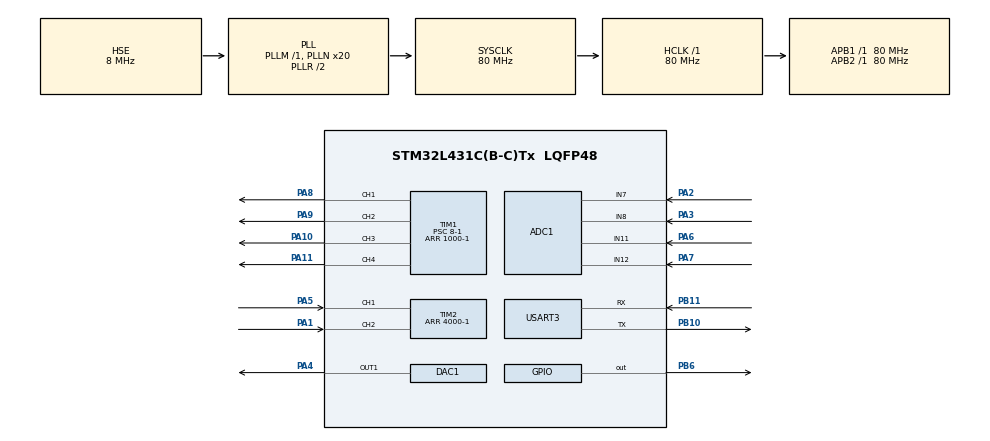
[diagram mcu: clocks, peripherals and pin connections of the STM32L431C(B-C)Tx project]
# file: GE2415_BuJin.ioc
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ADC1.Channel-6\#ChannelRegularConversion=ADC_CHANNEL_7
ADC1.Channel-7\#ChannelRegularConversion=ADC_CHANNEL_11
ADC1.Channel-8\#ChannelRegularConversion=ADC_CHANNEL_12
ADC1.Channel-9\#ChannelRegularConversion=ADC_CHANNEL_8
ADC1.ContinuousConvMode=ENABLE
ADC1.DMAContinuousRequests=ENABLE
ADC1.NbrOfConversion=4
ADC1.NbrOfConversionFlag=1
ADC1.OffsetNumber-6\#ChannelRegularConversion=ADC_OFFSET_NONE
ADC1.OffsetNumber-7\#ChannelRegularConversion=ADC_OFFSET_NONE
ADC1.OffsetNumber-8\#ChannelRegularConversion=ADC_OFFSET_NONE
ADC1.OffsetNumber-9\#ChannelRegularConversion=ADC_OFFSET_NONE
ADC1.Rank-6\#ChannelRegularConversion=1
ADC1.Rank-7\#ChannelRegularConversion=2
ADC1.Rank-8\#ChannelRegularConversion=3
ADC1.Rank-9\#ChannelRegularConversion=4
ADC1.SamplingTime-6\#ChannelRegularConversion=ADC_SAMPLETIME_6CYCLES_5
ADC1.SamplingTime-7\#ChannelRegularConversion=ADC_SAMPLETIME_6CYCLES_5
ADC1.SamplingTime-8\#ChannelRegularConversion=ADC_SAMPLETIME_6CYCLES_5
ADC1.SamplingTime-9\#ChannelRegularConversion=ADC_SAMPLETIME_6CYCLES_5
ADC1.master=1
Dma.ADC1.2.Direction=DMA_PERIPH_TO_MEMORY
Dma.ADC1.2.Instance=DMA1_Channel1
Dma.ADC1.2.MemDataAlignment=DMA_MDATAALIGN_HALFWORD
Dma.ADC1.2.MemInc=DMA_MINC_ENABLE
Dma.ADC1.2.Mode=DMA_CIRCULAR
Dma.ADC1.2.PeriphDataAlignment=DMA_PDATAALIGN_HALFWORD
Dma.ADC1.2.PeriphInc=DMA_PINC_DISABLE
Dma.ADC1.2.Priority=DMA_PRIORITY_LOW
Dma.Request0=USART3_RX
Dma.Request1=USART3_TX
Dma.Request2=ADC1
Dma.USART3_RX.0.Direction=DMA_PERIPH_TO_MEMORY
Dma.USART3_RX.0.Instance=DMA1_Channel3
Dma.USART3_RX.0.MemDataAlignment=DMA_MDATAALIGN_BYTE
Dma.USART3_RX.0.MemInc=DMA_MINC_ENABLE
Dma.USART3_RX.0.Mode=DMA_CIRCULAR
Dma.USART3_RX.0.PeriphDataAlignment=DMA_PDATAALIGN_BYTE
Dma.USART3_RX.0.PeriphInc=DMA_PINC_DISABLE
Dma.USART3_RX.0.Priority=DMA_PRIORITY_MEDIUM
Dma.USART3_TX.1.Direction=DMA_MEMORY_TO_PERIPH
Dma.USART3_TX.1.Instance=DMA1_Channel2
Dma.USART3_TX.1.MemDataAlignment=DMA_MDATAALIGN_BYTE
Dma.USART3_TX.1.MemInc=DMA_MINC_ENABLE
Dma.USART3_TX.1.Mode=DMA_NORMAL
Dma.USART3_TX.1.PeriphDataAlignment=DMA_PDATAALIGN_BYTE
Dma.USART3_TX.1.PeriphInc=DMA_PINC_DISABLE
Dma.USART3_TX.1.Priority=DMA_PRIORITY_MEDIUM
Mcu.Family=STM32L4
Mcu.Name=STM32L431C(B-C)Tx
Mcu.Package=LQFP48
NVIC.DMA1_Channel1_IRQn=true\:0\:0\:false\:false\:true\:false\:false\:false
NVIC.DMA1_Channel2_IRQn=true\:2\:0\:true\:false\:true\:false\:true\:true
NVIC.DMA1_Channel3_IRQn=true\:3\:0\:true\:false\:true\:false\:true\:true
NVIC.PriorityGroup=NVIC_PRIORITYGROUP_4
NVIC.TIM1_UP_TIM16_IRQn=true\:0\:0\:false\:false\:true\:true\:true\:true
NVIC.TIM2_IRQn=true\:3\:0\:true\:false\:true\:true\:true\:true
NVIC.TIM6_DAC_IRQn=true\:1\:0\:true\:false\:true\:true\:true\:true
NVIC.USART3_IRQn=true\:1\:0\:true\:false\:true\:true\:true\:true
PA1.GPIO_PuPd=GPIO_PULLUP
PA1.Signal=S_TIM2_CH2
PA10.Signal=S_TIM1_CH3
PA11.Signal=S_TIM1_CH4
PA13\ (JTMS-SWDIO).Mode=Serial_Wire
PA13\ (JTMS-SWDIO).Signal=SYS_JTMS-SWDIO
PA14\ (JTCK-SWCLK).Mode=Serial_Wire
PA14\ (JTCK-SWCLK).Signal=SYS_JTCK-SWCLK
PA2.Signal=ADCx_IN7
PA3.Signal=ADCx_IN8
PA4.Signal=COMP_DAC11_group
PA5.GPIO_PuPd=GPIO_PULLUP
PA5.Signal=S_TIM2_CH1
PA6.Signal=ADCx_IN11
PA7.Signal=ADCx_IN12
PA8.Signal=S_TIM1_CH1
PA9.Signal=S_TIM1_CH2
PB10.Mode=Asynchronous
PB10.Signal=USART3_TX
PB11.Mode=Asynchronous
PB11.Signal=USART3_RX
PB6.GPIO_PuPd=GPIO_NOPULL
PB6.Signal=GPIO_Output
PH0-OSC_IN\ (PH0).Mode=HSE-External-Oscillator
PH0-OSC_IN\ (PH0).Signal=RCC_OSC_IN
PH1-OSC_OUT\ (PH1).Mode=HSE-External-Oscillator
PH1-OSC_OUT\ (PH1).Signal=RCC_OSC_OUT
ProjectManager.HeapSize=0x200
ProjectManager.StackSize=0x400
ProjectManager.TargetToolchain=MDK-ARM V5.32
RCC.ADCFreq_Value=32000000
RCC.AHBFreq_Value=80000000
RCC.APB1Freq_Value=80000000
RCC.APB1TimFreq_Value=80000000
RCC.APB2Freq_Value=80000000
RCC.APB2TimFreq_Value=80000000
RCC.CortexFreq_Value=80000000
RCC.HCLKFreq_Value=80000000
RCC.HSE_VALUE=8000000
RCC.HSI48_VALUE=48000000
RCC.HSI_VALUE=16000000
RCC.LSE_VALUE=32768
RCC.MSI_VALUE=4000000
RCC.PLLN=20
RCC.PLLSourceVirtual=RCC_PLLSOURCE_HSE
RCC.SYSCLKFreq_VALUE=80000000
RCC.SYSCLKSource=RCC_SYSCLKSOURCE_PLLCLK
RCC.VCOOutputFreq_Value=160000000
SH.ADCx_IN11.0=ADC1_IN11,IN11-Single-Ended
SH.ADCx_IN12.0=ADC1_IN12,IN12-Single-Ended
SH.ADCx_IN7.0=ADC1_IN7,IN7-Single-Ended
SH.ADCx_IN8.0=ADC1_IN8,IN8-Single-Ended
SH.COMP_DAC11_group.0=DAC1_OUT1,DAC_OUT1
SH.S_TIM1_CH1.0=TIM1_CH1,PWM Generation1 CH1
SH.S_TIM1_CH2.0=TIM1_CH2,PWM Generation2 CH2
SH.S_TIM1_CH3.0=TIM1_CH3,PWM Generation3 CH3
SH.S_TIM1_CH4.0=TIM1_CH4,PWM Generation4 CH4
SH.S_TIM2_CH1.0=TIM2_CH1,Encoder_Interface
SH.S_TIM2_CH2.0=TIM2_CH2,Encoder_Interface
TIM1.Channel-PWM\ Generation1\ CH1=TIM_CHANNEL_1
TIM1.Channel-PWM\ Generation2\ CH2=TIM_CHANNEL_2
TIM1.Channel-PWM\ Generation3\ CH3=TIM_CHANNEL_3
TIM1.Channel-PWM\ Generation4\ CH4=TIM_CHANNEL_4
TIM1.Period=1000-1
TIM1.Prescaler=8-1
TIM16.Period=500-1
TIM16.Prescaler=80-1
TIM2.AutoReloadPreload=TIM_AUTORELOAD_PRELOAD_ENABLE
TIM2.EncoderMode=TIM_ENCODERMODE_TI12
TIM2.Period=4000-1
TIM6.Period=10-1
TIM6.Prescaler=80-1
USART3.VirtualMode-Asynchronous=VM_ASYNC
VP_TIM16_VS_ClockSourceINT.Mode=Enable_Timer
VP_TIM6_VS_ClockSourceINT.Mode=Enable_Timer
board=custom

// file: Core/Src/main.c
/* USER CODE BEGIN Header */
/**
  ******************************************************************************
  * @file           : main.c
  * @brief          : Main program body
  ******************************************************************************
  * @attention
  *
  * Copyright (c) 2024 STMicroelectronics.
  * All rights reserved.
  *
  * This software is licensed under terms that can be found in the LICENSE file
  * in the root directory of this software component.
  * If no LICENSE file comes with this software, it is provided AS-IS.
  *
  ******************************************************************************
  */
/* USER CODE END Header */
#include "main.h"
#include "adc.h"
#include "dac.h"
#include "dma.h"
#include "tim.h"
#include "usart.h"
#include "gpio.h"
#include "iwdg.h"

/* USER CODE BEGIN Includes */
#include "bujing.h"
#include "motor.h"
#include <math.h>
#include <stdlib.h>
#include "logic.h"
#include "sincostable.h"
#include "protect.h"
/* USER CODE END Includes */

/* USER CODE BEGIN PTD */
volatile uint16_t adc_buf[7];

extern float sin_table[4000];
extern float cos_table[4000];
extern MCUART_Type SerUart3;
//测试
volatile int16_t text1=0;
volatile int16_t text2=0;
volatile int16_t  Spd_Set = 0;
volatile int direction = 0;

/* USER CODE END PTD */

void SystemClock_Config(void);

int main(void)
 {
  /* USER CODE BEGIN 1 */
//  for (int i = 0; i < ENCODER_STEPS; i++) {
//	  float arg = i * 2 * NR * M_PI / ENCODER_STEPS;							//计算每一个角度存进去并且得到对应的sin/cos值
//	  sin_table[i] = (float)sin(arg);					//把对应的弧度值存入表中
//	  cos_table[i] = (float)cos(arg);				  //把对应的弧度值存入表中
//  }
  /* USER CODE END 1 */

  /* MCU Configuration--------------------------------------------------------*/

  /* Reset of all peripherals, Initializes the Flash interface and the Systick. */
  HAL_Init();

  /* Configure the system clock */
  SystemClock_Config();

  /* Initialize all configured peripherals */
  MX_GPIO_Init();
  MX_DMA_Init();
  MX_ADC1_Init();
  MX_TIM2_Init();
  MX_USART3_UART_Init();
  MX_TIM1_Init();
  MX_TIM6_Init();
  MX_TIM16_Init();
  MX_DAC1_Init();

  /* USER CODE BEGIN 2 */
	PumpSoftwareVersion_Init(); /* 在功率输出、运行定时器和看门狗启动前完成版本CRC计算。 */
	Hardware_Init();	//硬件初始化，各种打开
	Soft_Init();			//软件初始化
	Motor_AlignInit(); //启动非阻塞校准门禁，未验证编码器响应前保持PWM关闭。
	//使能时基定时器中断
	HAL_TIM_Base_Start_IT(&htim1);
	HAL_TIM_Base_Start_IT(&htim16);		//1ms
  HAL_TIM_Base_Start_IT(&htim6);		//10us
	//变量临时简单的初始化
	App.Spd.En_Cnt_Last = 0;
	App.Spd.Now = 0;
	App.Spd.EnTime_Cnt = 1;
  /* USER CODE END 2 */
  MX_IWDG_Init();
  /* Infinite loop */
  while (1)
  {

    /* USER CODE BEGIN 3 */
		Motor_Ctl();								//电机状态机
		Ctl_Logic();								//逻辑
		Protect();									//保护
		UartDealResponse();					//串口解析函数
		Motor_AlignProcess();                //处理新命令后推进定位，通信、保护和喂狗不被定位等待阻塞。
		HAL_IWDG_Refresh(&hiwdg);		//喂狗
  }
  /* USER CODE END 3 */
}

void SystemClock_Config(void)
{
  RCC_OscInitTypeDef RCC_OscInitStruct = {0};
  RCC_ClkInitTypeDef RCC_ClkInitStruct = {0};

  /** Configure the main internal regulator output voltage
  */
  if (HAL_PWREx_ControlVoltageScaling(PWR_REGULATOR_VOLTAGE_SCALE1) != HAL_OK)
  {
    Error_Handler();
  }

  /** Initializes the RCC Oscillators according to the specified parameters
  * in the RCC_OscInitTypeDef structure.
  */
  RCC_OscInitStruct.OscillatorType = RCC_OSCILLATORTYPE_HSE;
  RCC_OscInitStruct.HSEState = RCC_HSE_ON;
  RCC_OscInitStruct.PLL.PLLState = RCC_PLL_ON;
  RCC_OscInitStruct.PLL.PLLSource = RCC_PLLSOURCE_HSE;
  RCC_OscInitStruct.PLL.PLLM = 1;
  RCC_OscInitStruct.PLL.PLLN = 20;
  RCC_OscInitStruct.PLL.PLLP = RCC_PLLP_DIV7;
  RCC_OscInitStruct.PLL.PLLQ = RCC_PLLQ_DIV2;
  RCC_OscInitStruct.PLL.PLLR = RCC_PLLR_DIV2;
  if (HAL_RCC_OscConfig(&RCC_OscInitStruct) != HAL_OK)
  {
    Error_Handler();
  }

  /** Initializes the CPU, AHB and APB buses clocks
  */
  RCC_ClkInitStruct.ClockType = RCC_CLOCKTYPE_HCLK|RCC_CLOCKTYPE_SYSCLK
                              |RCC_CLOCKTYPE_PCLK1|RCC_CLOCKTYPE_PCLK2;
  RCC_ClkInitStruct.SYSCLKSource = RCC_SYSCLKSOURCE_PLLCLK;
  RCC_ClkInitStruct.AHBCLKDivider = RCC_SYSCLK_DIV1;
  RCC_ClkInitStruct.APB1CLKDivider = RCC_HCLK_DIV1;
  RCC_ClkInitStruct.APB2CLKDivider = RCC_HCLK_DIV1;

  if (HAL_RCC_ClockConfig(&RCC_ClkInitStruct, FLASH_LATENCY_4) != HAL_OK)
  {
    Error_Handler();
  }
}

/* USER CODE BEGIN 4 */
void HAL_TIM_PeriodElapsedCallback(TIM_HandleTypeDef *htim) {
	if (htim == &htim16) {
		App.Log.Tim_Triggered ++;
		App.Prot.Protect_1msFg =1;	//保护1ms
		App.Log.StaLedCyc ++;

		//错误重启时间计数
		if(App.Err > 0 && MCPara[53] == 1){
			App.Log.ErrReturnCnt++;
		}

		if(App.AllRun ==1){
			PI_SPD();		//速度环计算1ms一次
			App.Spd.Spd_Cal_10ms_Cnt++;
			if(App.Spd.Spd_Cal_10ms_Cnt >=10){
				App.Spd.Spd_Cal_10ms_Flag = 1;
			}
		}else{
			Spd_Init();	//停止输出
		}
	}
	if(htim == &htim6){			//10us
		if(App.AllRun ==1){								//允许计时
			App.Spd.EnTime_Cnt++;
			if(App.Spd.EnTime_Cnt>10000){	//6s没有清
				App.Spd.EnTime_Cnt =1;
				App.Spd.Now = 0;
			}
		}else{
			App.Spd.EnTime_Cnt = 1;
			App.Spd.Now = 0;

				App.Log.Offset_Encode_Now = 0;
				App.Log.Offset_Encode_Set = 0;
				App.Cal.cnt = TIM2->CNT;

				App.Spd.En_Err = 0;
				App.Spd.En_Cnt = TIM2->CNT;
				App.Spd.En_Cnt_Last = TIM2->CNT;			//计算差值

				if(App.Cal.cnt > ENCODER_STEPS){
					App.Cal.cnt -= ENCODER_STEPS;
				}else if(App.Cal.cnt < 0){
					App.Cal.cnt += ENCODER_STEPS;
				}

		}
	}
	if(htim == &htim1){			//20K---0.00005s触发一下
		PWM_InterruptService();
	}
}

/* USER CODE END 4 */

void Error_Handler(void)
{
  __disable_irq();
  while (1)
  {
  }
}

void delay_us(uint32_t us)
{
    // 根据系统时钟计算循环次数
    // 公式：循环次数 = us * (时钟频率 / 每个循环的时钟周期)
    // 对于STM32L431 @80MHz，每个nop约2-4个时钟周期
    uint32_t loops = us * (8000000 / 4000000); // 经验值，需要校准

    for(volatile uint32_t i = 0; i < loops; i++)
    {
        __NOP(); // 空指令，消耗时钟周期
    }
}
